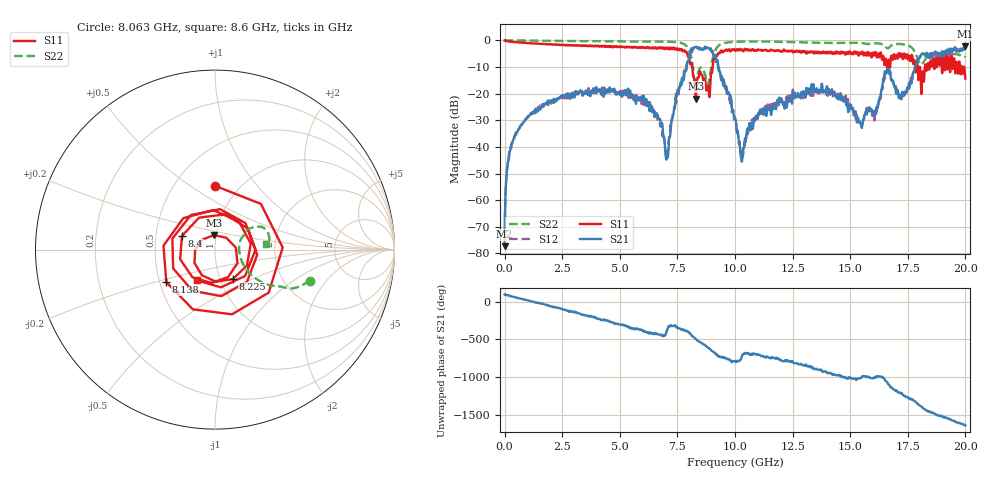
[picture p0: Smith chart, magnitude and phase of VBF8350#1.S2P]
!Agilent Technologies,E5071C,MY46215201,A.10.06
!Date: Mon Nov 18 15:42:03 2019
!Data & Calibration Information:
!Freq	S11:SOLT2(ON)	S21:SOLT2(ON)	S12:SOLT2(ON)	S22:SOLT2(ON)
!PortZ  Port1:50+j0  Port2:50+j0
!Above PortZ is port z conversion or system Z0 setting when saving the data.
!When reading, reference impedance value at option line is always used.
# Hz S dB R 50
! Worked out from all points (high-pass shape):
!   1601 points, 300 kHz to 20 GHz, reference 50 ohm
!   highest |S21| = -2.14 dB at 20 GHz (marker M1); lowest = -77.3 dB at 300 kHz (marker M2)
!   |S21| within 3 dB of the highest: 8.012 GHz to 9.058 GHz (1.046 GHz wide, 12.3 % of centre); 19.07 GHz to end of sweep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
!   lowest |S11| = -21.8 dB at 8.3 GHz (marker M3), VSWR 1.18, Z = 48.8 + j7.96 ohm
!   |S11| at or under -10 dB: 8.141 GHz to 9.028 GHz (887.4 MHz wide, 10.3 % of centre); 17.92595 GHz to 18.01045 GHz (84.49 MHz wide, 0.47 % of centre); 18.03 GHz to 18.24 GHz (216.6 MHz wide, 1.19 % of centre)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
!   |S22| runs from -17.4 to 0.0 dB; largest |S21 - S12| = 0.2
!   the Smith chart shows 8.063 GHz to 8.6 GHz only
!   S11 on the Smith chart (normalised r, x): 8.063 GHz: 0.77, +0.63; 8.138 GHz: 0.54, -0.22; 8.225 GHz: 1.15, -0.39; 8.4 GHz: 0.68, +0.11; 8.6 GHz: 0.77, -0.28
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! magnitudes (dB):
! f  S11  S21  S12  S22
! 300 kHz  0.0  -77.3  -67.6  0.0
! 187.8 MHz  -0.4  -42.9  -44.4  0.0
! 575.3 MHz  -0.7  -33.7  -33.7  0.0
! 3.338 GHz  -2.0  -19.4  -19.5  -0.2
! 6.675 GHz  -2.8  -29.2  -29.2  -0.4
! 7.063 GHz  -3.1  -44.1  -44.0  -0.5
! 8.063 GHz  -9.0  -4.7  -5.3  -5.1
! 8.138 GHz  -9.7  -3.4  -4.3  -8.1
! 8.225 GHz  -14.3  -2.5  -2.8  -14.2
! 8.3 GHz  -21.8  -2.4  -2.5  -17.1
! 8.4 GHz  -14.0  -2.8  -2.6  -12.2
! 8.6 GHz  -14.0  -3.4  -2.5  -10.9
! 9.163 GHz  -5.8  -5.5  -7.4  -3.4
! 10 GHz  -3.7  -29.4  -28.8  -0.5
! 10.31 GHz  -3.4  -44.8  -43.5  -0.4
! 11.13 GHz  -3.6  -26.9  -27.3  -0.4
! 13.34 GHz  -4.4  -17.2  -19.8  -0.8
! 15.45 GHz  -5.0  -31.0  -31.3  -1.0
! 16.68 GHz  -7.2  -11.5  -12.0  -2.7
! 17.19 GHz  -6.0  -21.5  -19.8  -1.3
! 18.14 GHz  -11.8  -4.9  -5.0  -8.7
! 20 GHz  -14.3  -2.1  -2.9  -5.9
